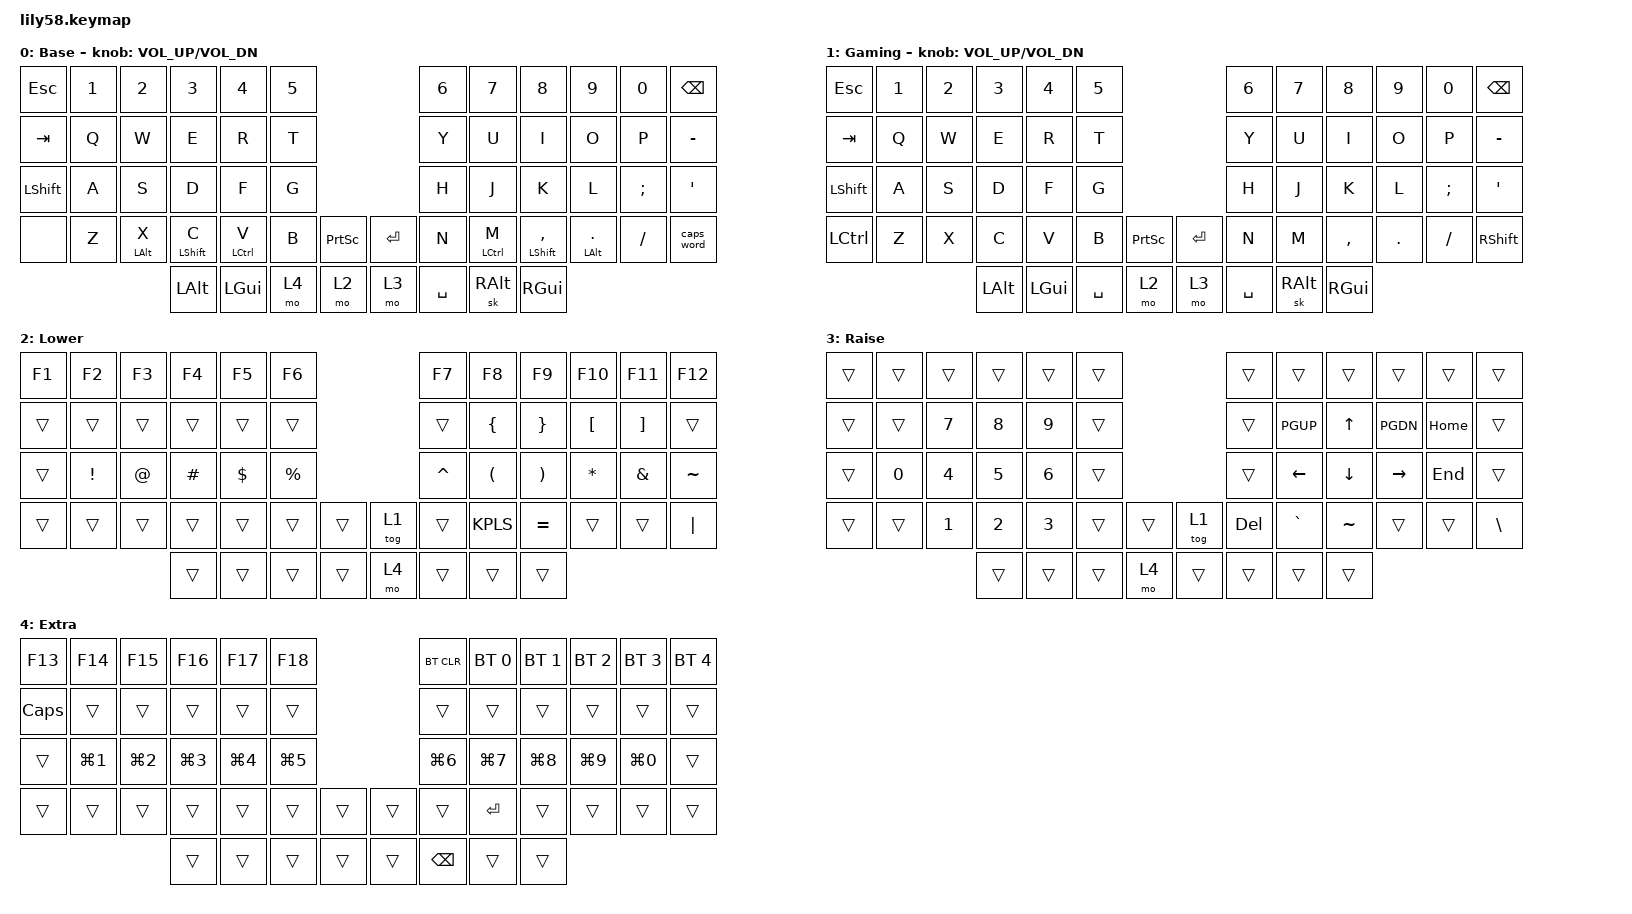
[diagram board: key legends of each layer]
/*
 * Copyright (c) 2020 The ZMK Contributors
 *
 * SPDX-License-Identifier: MIT
 */

#include <behaviors.dtsi>
#include <dt-bindings/zmk/keys.h>
#include <dt-bindings/zmk/bt.h>
#include <dt-bindings/zmk/ext_power.h>

&sk {
    release-after-ms = <3000>;
    ignore-modifiers;
};

/ {

    behaviors {
        brm: bottom_row_mod {
            compatible = "zmk,behavior-hold-tap";
            #binding-cells = <2>;
            flavor = "balanced";
            tapping-term-ms = <200>;
            quick-tap-ms = <300>;
            require-prior-idle-ms = <150>;
            bindings = <&kp>, <&kp>;
        };
    };

    keymap {
        compatible = "zmk,keymap";

        default_layer {
            display-name = "Base";
            bindings = <
&kp ESC    &kp N1  &kp N2       &kp N3       &kp N4        &kp N5                            &kp N6   &kp N7        &kp N8            &kp N9         &kp N0    &kp BSPC
&kp TAB    &kp Q   &kp W        &kp E        &kp R         &kp T                             &kp Y    &kp U         &kp I             &kp O          &kp P     &kp MINUS
&kp LSHFT  &kp A   &kp S        &kp D        &kp F         &kp G                             &kp H    &kp J         &kp K             &kp L          &kp SEMI  &kp SQT
&none      &kp Z   &brm LALT X  &brm LSHFT C &brm LCTRL V  &kp B    &kp PSCRN       &kp RET  &kp N    &brm LCTRL M  &brm LSHFT COMMA  &brm LALT DOT  &kp FSLH  &caps_word
                                &kp LALT     &kp LGUI      &mo 4    &mo 2           &mo 3    &kp SPC  &sk RALT      &kp RGUI
            >;

            sensor-bindings = <&inc_dec_kp C_VOL_UP C_VOL_DN>;
        };

        gaming_layer {
            display-name = "Gaming";
            bindings = <
&kp ESC    &kp N1  &kp N2  &kp N3    &kp N4    &kp N5                            &kp N6   &kp N7    &kp N8     &kp N9   &kp N0    &kp BSPC
&kp TAB    &kp Q   &kp W   &kp E     &kp R     &kp T                             &kp Y    &kp U     &kp I      &kp O    &kp P     &kp MINUS
&kp LSHFT  &kp A   &kp S   &kp D     &kp F     &kp G                             &kp H    &kp J     &kp K      &kp L    &kp SEMI  &kp SQT
&kp LCTRL  &kp Z   &kp X   &kp C     &kp V     &kp B    &kp PSCRN       &kp RET  &kp N    &kp M     &kp COMMA  &kp DOT  &kp FSLH  &kp RSHFT
                           &kp LALT  &kp LGUI  &kp SPC  &mo 2           &mo 3    &kp SPC  &sk RALT  &kp RGUI
            >;

            sensor-bindings = <&inc_dec_kp C_VOL_UP C_VOL_DN>;
        };


        lower_layer {
            display-name = "Lower";
            bindings = <
&kp F1  &kp F2    &kp F3  &kp F4    &kp F5      &kp F6                             &kp F7     &kp F8     &kp F9       &kp F10   &kp F11   &kp F12
&trans  &trans    &trans  &trans    &trans      &trans                             &trans     &kp LBRC   &kp RBRC     &kp LBKT  &kp RBKT  &trans
&trans  &kp EXCL  &kp AT  &kp HASH  &kp DOLLAR  &kp PRCNT                          &kp CARET  &kp LPAR   &kp RPAR     &kp STAR  &kp AMPS  &kp TILDE
&trans  &trans    &trans  &trans    &trans      &trans      &trans         &tog 1  &trans     &kp KPLS   &kp EQUAL    &trans    &trans    &kp PIPE
                          &trans    &trans      &trans      &trans         &mo 4   &trans     &trans     &trans
            >;
        };

        raise_layer {
            display-name = "Raise";
            bindings = <
&trans  &trans  &trans  &trans  &trans  &trans                      &trans   &trans     &trans     &trans     &trans    &trans
&trans  &trans  &kp N7  &kp N8  &kp N9  &trans                      &trans   &kp PGUP   &kp UP     &kp PGDN   &kp HOME  &trans
&trans  &kp N0  &kp N4  &kp N5  &kp N6  &trans                      &trans   &kp LEFT   &kp DOWN   &kp RIGHT  &kp END   &trans
&trans  &trans  &kp N1  &kp N2  &kp N3  &trans    &trans    &tog 1  &kp DEL  &kp GRAVE  &kp TILDE  &trans     &trans    &kp BSLH
                        &trans  &trans  &trans    &mo 4     &trans  &trans   &trans     &trans
            >;
        };


        extra_layer {
            display-name = "Extra";
            bindings = <
&kp F13   &kp F14     &kp F15     &kp F16      &kp F17     &kp F18                             &bt BT_CLR  &bt BT_SEL 0  &bt BT_SEL 1  &bt BT_SEL 2  &bt BT_SEL 3  &bt BT_SEL 4
&kp CAPS  &trans      &trans      &trans       &trans      &trans                              &trans      &trans        &trans        &trans        &trans        &trans
&trans    &kp LG(N1)  &kp LG(N2)  &kp LG(N3)   &kp LG(N4)  &kp LG(N5)                          &kp LG(N6)  &kp LG(N7)    &kp LG(N8)    &kp LG(N9)    &kp LG(N0)    &trans
&trans    &trans      &trans      &trans       &trans      &trans      &trans      &trans      &trans      &kp RET       &trans        &trans        &trans        &trans
                                  &trans       &trans      &trans      &trans      &trans      &kp BSPC    &trans        &trans
            >;
        };

    };
};

